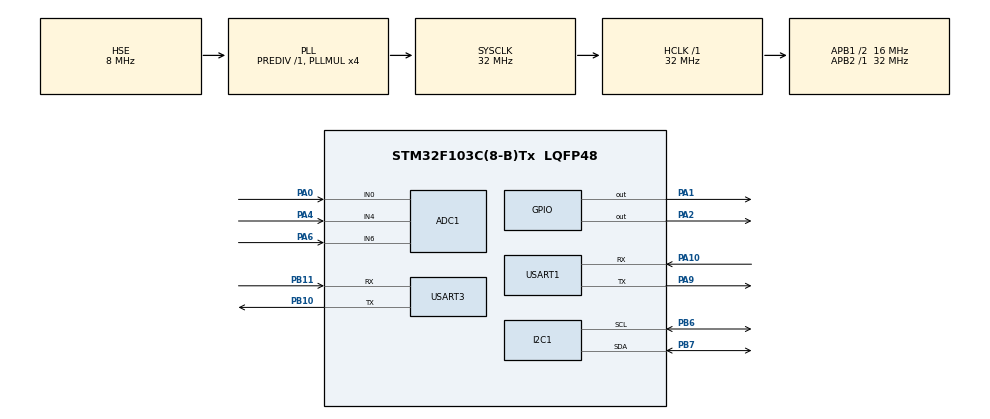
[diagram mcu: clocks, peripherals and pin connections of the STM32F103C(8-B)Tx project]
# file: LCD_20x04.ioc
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ADC1.Channel-5\#ChannelRegularConversion=ADC_CHANNEL_0
ADC1.Channel-6\#ChannelRegularConversion=ADC_CHANNEL_4
ADC1.Channel-7\#ChannelRegularConversion=ADC_CHANNEL_6
ADC1.NbrOfConversion=3
ADC1.NbrOfConversionFlag=1
ADC1.Rank-5\#ChannelRegularConversion=1
ADC1.Rank-6\#ChannelRegularConversion=2
ADC1.Rank-7\#ChannelRegularConversion=3
ADC1.SamplingTime-5\#ChannelRegularConversion=ADC_SAMPLETIME_1CYCLE_5
ADC1.SamplingTime-6\#ChannelRegularConversion=ADC_SAMPLETIME_1CYCLE_5
ADC1.SamplingTime-7\#ChannelRegularConversion=ADC_SAMPLETIME_1CYCLE_5
ADC1.master=1
Mcu.Family=STM32F1
Mcu.Name=STM32F103C(8-B)Tx
Mcu.Package=LQFP48
NVIC.PriorityGroup=NVIC_PRIORITYGROUP_4
PA0-WKUP.Signal=ADCx_IN0
PA1.Signal=GPIO_Output
PA10.Mode=Asynchronous
PA10.Signal=USART1_RX
PA13.Mode=Serial_Wire
PA13.Signal=SYS_JTMS-SWDIO
PA14.Mode=Serial_Wire
PA14.Signal=SYS_JTCK-SWCLK
PA2.Signal=GPIO_Output
PA4.Signal=ADCx_IN4
PA6.Signal=ADCx_IN6
PA9.Mode=Asynchronous
PA9.Signal=USART1_TX
PB10.Mode=Asynchronous
PB10.Signal=USART3_TX
PB11.Mode=Asynchronous
PB11.Signal=USART3_RX
PB6.Mode=I2C
PB6.Signal=I2C1_SCL
PB7.Mode=I2C
PB7.Signal=I2C1_SDA
PD0-OSC_IN.Mode=HSE-External-Oscillator
PD0-OSC_IN.Signal=RCC_OSC_IN
PD1-OSC_OUT.Mode=HSE-External-Oscillator
PD1-OSC_OUT.Signal=RCC_OSC_OUT
ProjectManager.HeapSize=0x200
ProjectManager.StackSize=0x400
ProjectManager.TargetToolchain=MDK-ARM V5.32
RCC.ADCPresc=RCC_ADCPCLK2_DIV4
RCC.AHBFreq_Value=32000000
RCC.APB1CLKDivider=RCC_HCLK_DIV2
RCC.APB1Freq_Value=16000000
RCC.APB1TimFreq_Value=32000000
RCC.APB2Freq_Value=32000000
RCC.APB2TimFreq_Value=32000000
RCC.HCLKFreq_Value=32000000
RCC.PLLMUL=RCC_PLL_MUL4
RCC.PLLSourceVirtual=RCC_PLLSOURCE_HSE
RCC.SYSCLKFreq_VALUE=32000000
RCC.SYSCLKSource=RCC_SYSCLKSOURCE_PLLCLK
RCC.USBFreq_Value=32000000
SH.ADCx_IN0.0=ADC1_IN0,IN0
SH.ADCx_IN4.0=ADC1_IN4,IN4
SH.ADCx_IN6.0=ADC1_IN6,IN6
TIM2.Period=65535-1
TIM2.Prescaler=32-1
TIM2.TIM_MasterOutputTrigger=TIM_TRGO_UPDATE
USART1.VirtualMode=VM_ASYNC
USART3.VirtualMode=VM_ASYNC
VP_TIM2_VS_ClockSourceINT.Mode=Internal
board=custom

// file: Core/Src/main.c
/* USER CODE BEGIN Header */
/**
  ******************************************************************************
  * @file           : main.c
  * @brief          : Main program body
  ******************************************************************************
  * @attention
  *
  * Copyright (c) 2024 STMicroelectronics.
  * All rights reserved.
  *
  * This software is licensed under terms that can be found in the LICENSE file
  * in the root directory of this software component.
  * If no LICENSE file comes with this software, it is provided AS-IS.
  *
  ******************************************************************************
  */
/* USER CODE END Header */
#include "main.h"

/* USER CODE BEGIN Includes */
#include "i2c-lcd.h"
#include "mk_dht11.h"
#include "ph4502c_sensor.h"
#include "stdio.h"
#include "stdio.h"
#include "string.h"
/* USER CODE END Includes */

/* USER CODE BEGIN PD */
#define ADC_MAX_VALUE 4095.0
#define VOLTAGE_REF 5.0  // dien ap tham chieu 5V
#define SLAVE_ESP32 (0x0A << 1)
/* USER CODE END PD */

ADC_HandleTypeDef hadc1;

I2C_HandleTypeDef hi2c1;

TIM_HandleTypeDef htim2;

UART_HandleTypeDef huart1;
UART_HandleTypeDef huart3;

/* USER CODE BEGIN PV */
dht11_t dht;
PH4502C_Sensor PH_Sensor;
float Air_Temperature;				// DHT11
float Air_Humidity;						// DHT11
float Water_Temperature;	//PH
float Water_pH;					//PH
uint32_t adc_value_pH, adc_value_temp;
float Soil_Moisture;
long last;								// DHT11
uint32_t sensor_data[3];
char lcd_data[20];
float percentage_sensor_data[2];
char jsonData[200];
/* USER CODE END PV */

void SystemClock_Config(void);
static void MX_GPIO_Init(void);
static void MX_I2C1_Init(void);
static void MX_ADC1_Init(void);
static void MX_USART1_UART_Init(void);
static void MX_TIM2_Init(void);
static void MX_USART3_UART_Init(void);
/* USER CODE BEGIN PFP */
static void DHT11_ReadExample(void);
static void Read_ADC_Value(void);
static float Convert_ADC_To_pH(uint32_t adc_value);
static float Convert_ADC_To_Temperature(uint32_t adc_value);
/* USER CODE END PFP */

int main(void)
{

  /* MCU Configuration--------------------------------------------------------*/

  /* Reset of all peripherals, Initializes the Flash interface and the Systick. */
  HAL_Init();

  /* Configure the system clock */
  SystemClock_Config();

  /* Initialize all configured peripherals */
  MX_GPIO_Init();
  MX_I2C1_Init();
  MX_ADC1_Init();
  MX_USART1_UART_Init();
  MX_TIM2_Init();
  MX_USART3_UART_Init();
  /* USER CODE BEGIN 2 */
	lcd_init();
//	lcd_send_cmd (0x80|0x00);		//dau hang 1
//  lcd_send_string("HUNG KEM");

 // lcd_send_cmd (0x80|0x40);		//dau hang 2
//	lcd_send_cmd(0x94);  // dau hang 3
//	lcd_send_cmd(0xD4);			//dau hang 4
  /* USER CODE END 2 */

  /* Infinite loop */
  /* USER CODE BEGIN WHILE */
  while (1)
  {
		Read_ADC_Value();

		HAL_Delay(500);
		HAL_GPIO_WritePin(GPIOA, GPIO_PIN_2, GPIO_PIN_SET);
		Soil_Moisture = 100.0 - ((float)sensor_data[0]/4095.0) * 100.0;
		sprintf(lcd_data, "Soil Moisture: %.1f ", Soil_Moisture);
		HAL_Delay(100);
		lcd_send_cmd(0x80|0x00);		//hang 1
		HAL_Delay(10);
		lcd_send_string(lcd_data);
		HAL_Delay(500);

		DHT11_ReadExample();
		sprintf(lcd_data, "Air Temperatue: %.1f", Air_Temperature);
		HAL_Delay(100);
		lcd_send_cmd(0x80|0x40);
		HAL_Delay(10);
		lcd_send_string(lcd_data);
		HAL_Delay(500);

		sprintf(lcd_data, "Air Humidity: %0.1f ", Air_Humidity);
		HAL_Delay(100);
		lcd_send_cmd(0x80|0x94);
		HAL_Delay(10);
		lcd_send_string(lcd_data);
		HAL_Delay(500);

		adc_value_pH = sensor_data[1];
		adc_value_temp = sensor_data[2];
		Water_Temperature = Convert_ADC_To_Temperature(adc_value_temp);
		Water_pH = Convert_ADC_To_pH(adc_value_pH);
		sprintf(lcd_data,"Water: %.1fpH/ %.1fC ", Water_pH, Water_Temperature);
		HAL_Delay(100);
		lcd_send_cmd(0xD4);
		HAL_Delay(10);
		lcd_send_string(lcd_data);
		HAL_Delay(500);

		sprintf(jsonData,"{\"sensor\":\"Soil Moisture Sensor\",\"data\": %.1f}", Soil_Moisture);
		HAL_UART_Transmit(&huart3, (uint8_t*)jsonData, strlen(jsonData), HAL_MAX_DELAY);
		HAL_Delay(500);

		sprintf(jsonData,"{\"sensor\":\"Air Temperature Sensor\",\"data\": %.1f}", Air_Temperature);
		HAL_UART_Transmit(&huart3, (uint8_t*)jsonData, strlen(jsonData), HAL_MAX_DELAY);
		HAL_Delay(500);

		sprintf(jsonData,"{\"sensor\":\"Air Humidity Sensor\",\"data\": %.1f}", Air_Humidity);
		HAL_UART_Transmit(&huart3, (uint8_t*)jsonData, strlen(jsonData), HAL_MAX_DELAY);
		HAL_Delay(500);

		sprintf(jsonData,"{\"sensor\":\"Water pH Sensor\",\"data\": %.1f}", Water_pH);
		HAL_UART_Transmit(&huart3, (uint8_t*)jsonData, strlen(jsonData), HAL_MAX_DELAY);
		HAL_Delay(500);

		sprintf(jsonData,"{\"sensor\":\"Water Temperature Sensor\",\"data\": %.1f}", Water_Temperature);
		HAL_UART_Transmit(&huart3, (uint8_t*)jsonData, strlen(jsonData), HAL_MAX_DELAY);
		HAL_Delay(500);

		HAL_GPIO_WritePin(GPIOA, GPIO_PIN_2, GPIO_PIN_RESET);
		HAL_Delay(200);
    /* USER CODE END WHILE */

  }
}

void SystemClock_Config(void)
{
  RCC_OscInitTypeDef RCC_OscInitStruct = {0};
  RCC_ClkInitTypeDef RCC_ClkInitStruct = {0};
  RCC_PeriphCLKInitTypeDef PeriphClkInit = {0};

  /** Initializes the RCC Oscillators according to the specified parameters
  * in the RCC_OscInitTypeDef structure.
  */
  RCC_OscInitStruct.OscillatorType = RCC_OSCILLATORTYPE_HSE;
  RCC_OscInitStruct.HSEState = RCC_HSE_ON;
  RCC_OscInitStruct.HSEPredivValue = RCC_HSE_PREDIV_DIV1;
  RCC_OscInitStruct.HSIState = RCC_HSI_ON;
  RCC_OscInitStruct.PLL.PLLState = RCC_PLL_ON;
  RCC_OscInitStruct.PLL.PLLSource = RCC_PLLSOURCE_HSE;
  RCC_OscInitStruct.PLL.PLLMUL = RCC_PLL_MUL4;
  if (HAL_RCC_OscConfig(&RCC_OscInitStruct) != HAL_OK)
  {
    Error_Handler();
  }

  /** Initializes the CPU, AHB and APB buses clocks
  */
  RCC_ClkInitStruct.ClockType = RCC_CLOCKTYPE_HCLK|RCC_CLOCKTYPE_SYSCLK
                              |RCC_CLOCKTYPE_PCLK1|RCC_CLOCKTYPE_PCLK2;
  RCC_ClkInitStruct.SYSCLKSource = RCC_SYSCLKSOURCE_PLLCLK;
  RCC_ClkInitStruct.AHBCLKDivider = RCC_SYSCLK_DIV1;
  RCC_ClkInitStruct.APB1CLKDivider = RCC_HCLK_DIV2;
  RCC_ClkInitStruct.APB2CLKDivider = RCC_HCLK_DIV1;

  if (HAL_RCC_ClockConfig(&RCC_ClkInitStruct, FLASH_LATENCY_1) != HAL_OK)
  {
    Error_Handler();
  }
  PeriphClkInit.PeriphClockSelection = RCC_PERIPHCLK_ADC;
  PeriphClkInit.AdcClockSelection = RCC_ADCPCLK2_DIV4;
  if (HAL_RCCEx_PeriphCLKConfig(&PeriphClkInit) != HAL_OK)
  {
    Error_Handler();
  }
}

static void MX_ADC1_Init(void)
{

  ADC_ChannelConfTypeDef sConfig = {0};

  /** Common config
  */
  hadc1.Instance = ADC1;
  hadc1.Init.ScanConvMode = ADC_SCAN_ENABLE;
  hadc1.Init.ContinuousConvMode = DISABLE;
  hadc1.Init.DiscontinuousConvMode = DISABLE;
  hadc1.Init.ExternalTrigConv = ADC_SOFTWARE_START;
  hadc1.Init.DataAlign = ADC_DATAALIGN_RIGHT;
  hadc1.Init.NbrOfConversion = 3;
  if (HAL_ADC_Init(&hadc1) != HAL_OK)
  {
    Error_Handler();
  }

  /** Configure Regular Channel
  */
  sConfig.Channel = ADC_CHANNEL_0;
  sConfig.Rank = ADC_REGULAR_RANK_1;
  sConfig.SamplingTime = ADC_SAMPLETIME_1CYCLE_5;
  if (HAL_ADC_ConfigChannel(&hadc1, &sConfig) != HAL_OK)
  {
    Error_Handler();
  }

  /** Configure Regular Channel
  */
  sConfig.Channel = ADC_CHANNEL_4;
  sConfig.Rank = ADC_REGULAR_RANK_2;
  if (HAL_ADC_ConfigChannel(&hadc1, &sConfig) != HAL_OK)
  {
    Error_Handler();
  }

  /** Configure Regular Channel
  */
  sConfig.Channel = ADC_CHANNEL_6;
  sConfig.Rank = ADC_REGULAR_RANK_3;
  if (HAL_ADC_ConfigChannel(&hadc1, &sConfig) != HAL_OK)
  {
    Error_Handler();
  }

}

static void MX_I2C1_Init(void)
{

  hi2c1.Instance = I2C1;
  hi2c1.Init.ClockSpeed = 100000;
  hi2c1.Init.DutyCycle = I2C_DUTYCYCLE_2;
  hi2c1.Init.OwnAddress1 = 0;
  hi2c1.Init.AddressingMode = I2C_ADDRESSINGMODE_7BIT;
  hi2c1.Init.DualAddressMode = I2C_DUALADDRESS_DISABLE;
  hi2c1.Init.OwnAddress2 = 0;
  hi2c1.Init.GeneralCallMode = I2C_GENERALCALL_DISABLE;
  hi2c1.Init.NoStretchMode = I2C_NOSTRETCH_DISABLE;
  if (HAL_I2C_Init(&hi2c1) != HAL_OK)
  {
    Error_Handler();
  }

}

static void MX_TIM2_Init(void)
{

  TIM_ClockConfigTypeDef sClockSourceConfig = {0};
  TIM_MasterConfigTypeDef sMasterConfig = {0};

  htim2.Instance = TIM2;
  htim2.Init.Prescaler = 32-1;
  htim2.Init.CounterMode = TIM_COUNTERMODE_UP;
  htim2.Init.Period = 65535-1;
  htim2.Init.ClockDivision = TIM_CLOCKDIVISION_DIV1;
  htim2.Init.AutoReloadPreload = TIM_AUTORELOAD_PRELOAD_DISABLE;
  if (HAL_TIM_Base_Init(&htim2) != HAL_OK)
  {
    Error_Handler();
  }
  sClockSourceConfig.ClockSource = TIM_CLOCKSOURCE_INTERNAL;
  if (HAL_TIM_ConfigClockSource(&htim2, &sClockSourceConfig) != HAL_OK)
  {
    Error_Handler();
  }
  sMasterConfig.MasterOutputTrigger = TIM_TRGO_UPDATE;
  sMasterConfig.MasterSlaveMode = TIM_MASTERSLAVEMODE_DISABLE;
  if (HAL_TIMEx_MasterConfigSynchronization(&htim2, &sMasterConfig) != HAL_OK)
  {
    Error_Handler();
  }

}

static void MX_USART1_UART_Init(void)
{

  huart1.Instance = USART1;
  huart1.Init.BaudRate = 115200;
  huart1.Init.WordLength = UART_WORDLENGTH_8B;
  huart1.Init.StopBits = UART_STOPBITS_1;
  huart1.Init.Parity = UART_PARITY_NONE;
  huart1.Init.Mode = UART_MODE_TX_RX;
  huart1.Init.HwFlowCtl = UART_HWCONTROL_NONE;
  huart1.Init.OverSampling = UART_OVERSAMPLING_16;
  if (HAL_UART_Init(&huart1) != HAL_OK)
  {
    Error_Handler();
  }

}

static void MX_USART3_UART_Init(void)
{

  huart3.Instance = USART3;
  huart3.Init.BaudRate = 115200;
  huart3.Init.WordLength = UART_WORDLENGTH_8B;
  huart3.Init.StopBits = UART_STOPBITS_1;
  huart3.Init.Parity = UART_PARITY_NONE;
  huart3.Init.Mode = UART_MODE_TX_RX;
  huart3.Init.HwFlowCtl = UART_HWCONTROL_NONE;
  huart3.Init.OverSampling = UART_OVERSAMPLING_16;
  if (HAL_UART_Init(&huart3) != HAL_OK)
  {
    Error_Handler();
  }

}

static void MX_GPIO_Init(void)
{
  GPIO_InitTypeDef GPIO_InitStruct = {0};

  /* GPIO Ports Clock Enable */
  __HAL_RCC_GPIOD_CLK_ENABLE();
  __HAL_RCC_GPIOA_CLK_ENABLE();
  __HAL_RCC_GPIOB_CLK_ENABLE();

  /*Configure GPIO pin Output Level */
  HAL_GPIO_WritePin(GPIOA, GPIO_PIN_1|GPIO_PIN_2, GPIO_PIN_RESET);

  /*Configure GPIO pins : PA1 PA2 */
  GPIO_InitStruct.Pin = GPIO_PIN_1|GPIO_PIN_2;
  GPIO_InitStruct.Mode = GPIO_MODE_OUTPUT_PP;
  GPIO_InitStruct.Pull = GPIO_NOPULL;
  GPIO_InitStruct.Speed = GPIO_SPEED_FREQ_LOW;
  HAL_GPIO_Init(GPIOA, &GPIO_InitStruct);

}

/* USER CODE BEGIN 4 */

void DHT11_ReadExample(void) {
    // Kh?i t?o DHT11 v?i timer, port và pin tuong ?ng
    init_dht11(&dht, &htim2, GPIOA, GPIO_PIN_1);

    // Ð?c d? li?u t? DHT11
    uint8_t result = readDHT11(&dht);

    // Ki?m tra n?u d?c thành công
    if (result == 1) {
        // In k?t qu? n?u d?c thành công
				Air_Temperature = dht.temperature;
				Air_Humidity = dht.humidty;
    } else {
        // Thông báo n?u có l?i trong quá trình d?c
        sprintf(lcd_data, "Failed read DHT11");
    }
}

void Read_ADC_Value(void)
{
    /* C?u hình và d?c kênh ADC 0 (d? ?m d?t) */
    ADC_ChannelConfTypeDef sConfig = {0};
    sConfig.Channel = ADC_CHANNEL_0;
    sConfig.Rank = ADC_REGULAR_RANK_1;
    sConfig.SamplingTime = ADC_SAMPLETIME_1CYCLE_5;
    HAL_ADC_ConfigChannel(&hadc1, &sConfig);
    HAL_ADC_Start(&hadc1);
    HAL_ADC_PollForConversion(&hadc1, HAL_MAX_DELAY);
    sensor_data[0] = HAL_ADC_GetValue(&hadc1);
    HAL_ADC_Stop(&hadc1);

    /* C?u hình và d?c kênh ADC 4 (pH nu?c) */
    sConfig.Channel = ADC_CHANNEL_4;
    sConfig.Rank = ADC_REGULAR_RANK_1;
    HAL_ADC_ConfigChannel(&hadc1, &sConfig);
    HAL_ADC_Start(&hadc1);
    HAL_ADC_PollForConversion(&hadc1, HAL_MAX_DELAY);
    sensor_data[1] = HAL_ADC_GetValue(&hadc1);
    HAL_ADC_Stop(&hadc1);

    /* C?u hình và d?c kênh ADC 6 (nhi?t d? nu?c) */
    sConfig.Channel = ADC_CHANNEL_6;
    sConfig.Rank = ADC_REGULAR_RANK_1;
    HAL_ADC_ConfigChannel(&hadc1, &sConfig);
    HAL_ADC_Start(&hadc1);
    HAL_ADC_PollForConversion(&hadc1, HAL_MAX_DELAY);
    sensor_data[2] = HAL_ADC_GetValue(&hadc1);
    HAL_ADC_Stop(&hadc1);
}

float Convert_ADC_To_pH(uint32_t adc_value) {
    // Chuy?n d?i giá tr? ADC v? di?n áp
    float voltage = (adc_value / ADC_MAX_VALUE) * VOLTAGE_REF;

    // Chuy?n d?i di?n áp v? giá tr? pH
    float pH_value = 2.8 * voltage;

    return pH_value;
}

float Convert_ADC_To_Temperature(uint32_t adc_value) {
    // Chuy?n d?i giá tr? ADC v? di?n áp
    float voltage = (adc_value / ADC_MAX_VALUE) * VOLTAGE_REF;

    // Gi? s? m?t m?i quan h? tuy?n tính gi?a di?n áp và nhi?t d?
    // Ví d?: 0V tuong ?ng v?i 0 d? C và 5V tuong ?ng v?i 100 d? C
    float temperature = 12 * voltage;

    return temperature;
}

/* USER CODE END 4 */

void Error_Handler(void)
{
  __disable_irq();
  while (1)
  {
  }
}
